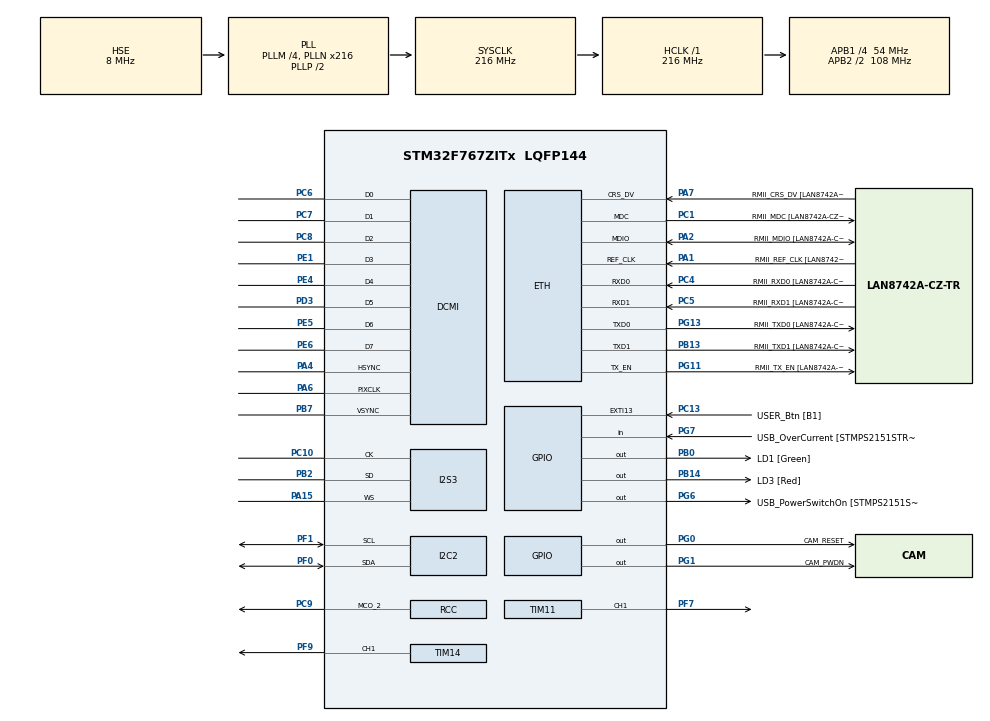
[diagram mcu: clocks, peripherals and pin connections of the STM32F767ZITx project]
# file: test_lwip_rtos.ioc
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CORTEX_M7.AccessPermission-Cortex_Memory_Protection_Unit_Region0_Settings=MPU_REGION_FULL_ACCESS
CORTEX_M7.AccessPermission-Cortex_Memory_Protection_Unit_Region1_Settings=MPU_REGION_FULL_ACCESS
CORTEX_M7.BaseAddress-Cortex_Memory_Protection_Unit_Region0_Settings=0x2007C000
CORTEX_M7.BaseAddress-Cortex_Memory_Protection_Unit_Region1_Settings=0x2007C000
CORTEX_M7.CPU_DCache=Enabled
CORTEX_M7.CPU_ICache=Enabled
CORTEX_M7.Enable-Cortex_Memory_Protection_Unit_Region0_Settings=MPU_REGION_ENABLE
CORTEX_M7.Enable-Cortex_Memory_Protection_Unit_Region1_Settings=MPU_REGION_ENABLE
CORTEX_M7.FlashInterface=TCM_Enabled
CORTEX_M7.IsBufferable-Cortex_Memory_Protection_Unit_Region1_Settings=MPU_ACCESS_BUFFERABLE
CORTEX_M7.IsShareable-Cortex_Memory_Protection_Unit_Region0_Settings=MPU_ACCESS_SHAREABLE
CORTEX_M7.IsShareable-Cortex_Memory_Protection_Unit_Region1_Settings=MPU_ACCESS_SHAREABLE
CORTEX_M7.MPU_Control=MPU_PRIVILEGED_DEFAULT
CORTEX_M7.Size-Cortex_Memory_Protection_Unit_Region0_Settings=MPU_REGION_SIZE_16KB
CORTEX_M7.Size-Cortex_Memory_Protection_Unit_Region1_Settings=MPU_REGION_SIZE_256B
CORTEX_M7.SubRegionDisable-Cortex_Memory_Protection_Unit_Region0_Settings=0x00
CORTEX_M7.SubRegionDisable-Cortex_Memory_Protection_Unit_Region1_Settings=0x00
CORTEX_M7.TypeExtField-Cortex_Memory_Protection_Unit_Region0_Settings=MPU_TEX_LEVEL1
DCMI.PCKPolarity=DCMI_PCKPOLARITY_RISING
DCMI.VSPolarity=DCMI_VSPOLARITY_HIGH
Dma.DCMI.2.Direction=DMA_PERIPH_TO_MEMORY
Dma.DCMI.2.FIFOMode=DMA_FIFOMODE_ENABLE
Dma.DCMI.2.FIFOThreshold=DMA_FIFO_THRESHOLD_FULL
Dma.DCMI.2.Instance=DMA2_Stream7
Dma.DCMI.2.MemBurst=DMA_MBURST_INC4
Dma.DCMI.2.MemDataAlignment=DMA_MDATAALIGN_WORD
Dma.DCMI.2.MemInc=DMA_MINC_ENABLE
Dma.DCMI.2.Mode=DMA_CIRCULAR
Dma.DCMI.2.PeriphBurst=DMA_PBURST_INC4
Dma.DCMI.2.PeriphDataAlignment=DMA_PDATAALIGN_WORD
Dma.DCMI.2.PeriphInc=DMA_PINC_DISABLE
Dma.DCMI.2.Priority=DMA_PRIORITY_VERY_HIGH
Dma.JPEG_IN.0.Direction=DMA_MEMORY_TO_PERIPH
Dma.JPEG_IN.0.FIFOMode=DMA_FIFOMODE_ENABLE
Dma.JPEG_IN.0.FIFOThreshold=DMA_FIFO_THRESHOLD_FULL
Dma.JPEG_IN.0.Instance=DMA2_Stream3
Dma.JPEG_IN.0.MemBurst=DMA_MBURST_INC4
Dma.JPEG_IN.0.MemDataAlignment=DMA_MDATAALIGN_WORD
Dma.JPEG_IN.0.MemInc=DMA_MINC_ENABLE
Dma.JPEG_IN.0.Mode=DMA_NORMAL
Dma.JPEG_IN.0.PeriphBurst=DMA_PBURST_INC4
Dma.JPEG_IN.0.PeriphDataAlignment=DMA_PDATAALIGN_WORD
Dma.JPEG_IN.0.PeriphInc=DMA_PINC_DISABLE
Dma.JPEG_IN.0.Priority=DMA_PRIORITY_MEDIUM
Dma.JPEG_OUT.1.Direction=DMA_PERIPH_TO_MEMORY
Dma.JPEG_OUT.1.FIFOMode=DMA_FIFOMODE_ENABLE
Dma.JPEG_OUT.1.FIFOThreshold=DMA_FIFO_THRESHOLD_FULL
Dma.JPEG_OUT.1.Instance=DMA2_Stream4
Dma.JPEG_OUT.1.MemBurst=DMA_MBURST_INC4
Dma.JPEG_OUT.1.MemDataAlignment=DMA_MDATAALIGN_WORD
Dma.JPEG_OUT.1.MemInc=DMA_MINC_ENABLE
Dma.JPEG_OUT.1.Mode=DMA_NORMAL
Dma.JPEG_OUT.1.PeriphBurst=DMA_PBURST_INC4
Dma.JPEG_OUT.1.PeriphDataAlignment=DMA_PDATAALIGN_WORD
Dma.JPEG_OUT.1.PeriphInc=DMA_PINC_DISABLE
Dma.JPEG_OUT.1.Priority=DMA_PRIORITY_LOW
Dma.Request0=JPEG_IN
Dma.Request1=JPEG_OUT
Dma.Request2=DCMI
ETH.MediaInterface=ETH_MEDIA_INTERFACE_RMII
ETH.PHY_ISFR_INT4=0x0010
ETH.PHY_Name=LAN8742A_PHY_ADDRESS
ETH.PHY_Value=0
ETH.PhyAddress=0
FREERTOS.BinarySemaphores01=RTP_SendSemaphore,Dynamic,NULL;EncJpegLine_SEM,Dynamic,NULL
FREERTOS.Tasks01=defaultTask,0,128,StartDefaultTask,Default,NULL,Dynamic,NULL,NULL
FREERTOS.configCHECK_FOR_STACK_OVERFLOW=0
FREERTOS.configTOTAL_HEAP_SIZE=262144
FREERTOS.configUSE_COUNTING_SEMAPHORES=1
FREERTOS.configUSE_RECURSIVE_MUTEXES=1
FREERTOS.configUSE_STATS_FORMATTING_FUNCTIONS=1
FREERTOS.configUSE_TRACE_FACILITY=1
I2C2.Timing=0x20404768
I2S3.AudioFreq=I2S_AUDIOFREQ_22K
I2S3.ErrorAudioFreq=0.26 %
I2S3.FullDuplexMode=I2S_FULLDUPLEXMODE_DISABLE
I2S3.Instance=SPI$Index
I2S3.RealAudioFreq=22.058 KHz
I2S3.VirtualMode=I2S_MODE_MASTER
JPEG.JPEG_RGB_FORMAT=JPEG_RGB565
JPEG.USE_JPEG_DECODER=0
LWIP.API_LIB_DEBUG=LWIP_DBG_OFF
LWIP.API_MSG_DEBUG=LWIP_DBG_OFF
LWIP.CMSIS_VERSION-Enabled=1
LWIP.DEFAULT_ACCEPTMBOX_SIZE=12
LWIP.DEFAULT_TCP_RECVMBOX_SIZE=12
LWIP.DEFAULT_UDP_RECVMBOX_SIZE=12
LWIP.DHCP_DEBUG=LWIP_DBG_OFF
LWIP.ETHARP_DEBUG=LWIP_DBG_OFF
LWIP.GATEWAY_ADDRESS=192.168.088.099
LWIP.HTTPD_DEBUG=LWIP_DBG_OFF
LWIP.ICMP_DEBUG=LWIP_DBG_OFF
LWIP.INET_DEBUG=LWIP_DBG_OFF
LWIP.IP_ADDRESS=192.168.088.099
LWIP.IP_DEBUG=LWIP_DBG_OFF
LWIP.LWIP_DBG_MIN_LEVEL=LWIP_DBG_LEVEL_ALL
LWIP.LWIP_DBG_TYPES_ON=LWIP_DBG_OFF
LWIP.LWIP_DHCP=0
LWIP.LWIP_HTTPD=1
LWIP.LWIP_HTTPD_DYNAMIC_HEADERS=1
LWIP.LWIP_TCPIP_CORE_LOCKING=1
LWIP.LWIP_TCPIP_CORE_LOCKING_INPUT=0
LWIP.MEMP_NUM_PBUF=50
LWIP.MEMP_NUM_TCP_PCB=15
LWIP.MEMP_NUM_TCP_SEG=40
LWIP.MEMP_NUM_UDP_PCB=6
LWIP.NETIF_DEBUG=LWIP_DBG_OFF
LWIP.NETMASK_ADDRESS=255.255.255.000
LWIP.PBUF_POOL_BUFSIZE=1524
LWIP.SOCKETS_DEBUG=LWIP_DBG_OFF
LWIP.SO_REUSE=1
LWIP.SYS_DEBUG=LWIP_DBG_OFF
LWIP.TCPIP_MBOX_SIZE=12
LWIP.TCP_DEBUG=LWIP_DBG_OFF
LWIP.TCP_MSS=1426
LWIP.TCP_SND_BUF=7130
LWIP.TCP_SND_QUEUELEN=30
LWIP.UDP_DEBUG=LWIP_DBG_OFF
LWIP.Version=v2.1.2_Cube
Mcu.Family=STM32F7
Mcu.Name=STM32F767ZITx
Mcu.Package=LQFP144
NVIC.DCMI_IRQn=true\:11\:0\:true\:false\:true\:true\:true\:true
NVIC.DMA2_Stream3_IRQn=true\:7\:0\:true\:false\:true\:false\:false\:true
NVIC.DMA2_Stream4_IRQn=true\:7\:0\:true\:false\:true\:false\:false\:true
NVIC.DMA2_Stream7_IRQn=true\:12\:0\:true\:false\:true\:false\:false\:true
NVIC.ETH_IRQn=true\:8\:0\:true\:false\:true\:false\:false\:true
NVIC.JPEG_IRQn=true\:6\:0\:true\:false\:true\:true\:true\:true
NVIC.PriorityGroup=NVIC_PRIORITYGROUP_4
NVIC.TIM6_DAC_IRQn=true\:0\:0\:false\:false\:true\:false\:false\:true
NVIC.TimeBase=TIM6_DAC_IRQn
NVIC.TimeBaseIP=TIM6
PA1.GPIO_Label=RMII_REF_CLK [LAN8742A-CZ-TR_REFCLK0]
PA1.Mode=RMII
PA1.Signal=ETH_REF_CLK
PA10.GPIO_Label=USB_ID
PA10.Signal=USB_OTG_FS_ID
PA11.GPIO_Label=USB_DM
PA11.Signal=USB_OTG_FS_DM
PA12.GPIO_Label=USB_DP
PA12.Signal=USB_OTG_FS_DP
PA13.GPIO_Label=TMS
PA13.Mode=Trace_Asynchronous_SW
PA13.Signal=SYS_JTMS-SWDIO
PA14.GPIO_Label=TCK
PA14.Mode=Trace_Asynchronous_SW
PA14.Signal=SYS_JTCK-SWCLK
PA15.Mode=Half_Duplex_Master
PA15.Signal=I2S3_WS
PA2.GPIO_Label=RMII_MDIO [LAN8742A-CZ-TR_MDIO]
PA2.Mode=RMII
PA2.Signal=ETH_MDIO
PA4.Mode=Slave_8_bits_External_Synchro
PA4.Signal=DCMI_HSYNC
PA6.Mode=Slave_8_bits_External_Synchro
PA6.Signal=DCMI_PIXCLK
PA7.GPIO_Label=RMII_CRS_DV [LAN8742A-CZ-TR_CRS_DV]
PA7.Mode=RMII
PA7.Signal=ETH_CRS_DV
PA8.GPIO_Label=USB_SOF [TP1]
PA8.Signal=USB_OTG_FS_SOF
PA9.GPIO_Label=USB_VBUS
PA9.Signal=USB_OTG_FS_VBUS
PB0.GPIO_Label=LD1 [Green]
PB0.Signal=GPIO_Output
PB13.GPIO_Label=RMII_TXD1 [LAN8742A-CZ-TR_TXD1]
PB13.Mode=RMII
PB13.Signal=ETH_TXD1
PB14.GPIO_Label=LD3 [Red]
PB14.Signal=GPIO_Output
PB2.Mode=Half_Duplex_Master
PB2.Signal=I2S3_SD
PB3.GPIO_Label=SWO
PB3.Mode=Trace_Asynchronous_SW
PB3.Signal=SYS_JTDO-SWO
PB7.Mode=Slave_8_bits_External_Synchro
PB7.Signal=DCMI_VSYNC
PC1.GPIO_Label=RMII_MDC [LAN8742A-CZ-TR_MDC]
PC1.Mode=RMII
PC1.Signal=ETH_MDC
PC10.Mode=Half_Duplex_Master
PC10.Signal=I2S3_CK
PC13.GPIO_Label=USER_Btn [B1]
PC13.Signal=GPXTI13
PC14/OSC32_IN.Mode=LSE-External-Oscillator
PC14/OSC32_IN.Signal=RCC_OSC32_IN
PC15/OSC32_OUT.Mode=LSE-External-Oscillator
PC15/OSC32_OUT.Signal=RCC_OSC32_OUT
PC4.GPIO_Label=RMII_RXD0 [LAN8742A-CZ-TR_RXD0]
PC4.Mode=RMII
PC4.Signal=ETH_RXD0
PC5.GPIO_Label=RMII_RXD1 [LAN8742A-CZ-TR_RXD1]
PC5.Mode=RMII
PC5.Signal=ETH_RXD1
PC6.Mode=Slave_8_bits_External_Synchro
PC6.Signal=DCMI_D0
PC7.Mode=Slave_8_bits_External_Synchro
PC7.Signal=DCMI_D1
PC8.Mode=Slave_8_bits_External_Synchro
PC8.Signal=DCMI_D2
PC9.Mode=Clock-out-2
PC9.Signal=RCC_MCO_2
PD3.Mode=Slave_8_bits_External_Synchro
PD3.Signal=DCMI_D5
PD8.GPIO_Label=STLK_RX [STM32F103CBT6_PA3]
PD8.Signal=USART3_TX
PD9.GPIO_Label=STLK_TX [STM32F103CBT6_PA2]
PD9.Signal=USART3_RX
PE1.Mode=Slave_8_bits_External_Synchro
PE1.Signal=DCMI_D3
PE4.Mode=Slave_8_bits_External_Synchro
PE4.Signal=DCMI_D4
PE5.Mode=Slave_8_bits_External_Synchro
PE5.Signal=DCMI_D6
PE6.Mode=Slave_8_bits_External_Synchro
PE6.Signal=DCMI_D7
PF0.Mode=I2C
PF0.Signal=I2C2_SDA
PF1.Mode=I2C
PF1.Signal=I2C2_SCL
PF7.Signal=S_TIM11_CH1
PF9.Signal=S_TIM14_CH1
PG0.GPIO_Label=CAM_RESET
PG0.Signal=GPIO_Output
PG1.GPIO_Label=CAM_PWDN
PG1.Signal=GPIO_Output
PG11.GPIO_Label=RMII_TX_EN [LAN8742A-CZ-TR_TXEN]
PG11.Mode=RMII
PG11.Signal=ETH_TX_EN
PG13.GPIO_Label=RMII_TXD0 [LAN8742A-CZ-TR_TXD0]
PG13.Mode=RMII
PG13.Signal=ETH_TXD0
PG6.GPIO_Label=USB_PowerSwitchOn [STMPS2151STR_EN]
PG6.Signal=GPIO_Output
PG7.GPIO_Label=USB_OverCurrent [STMPS2151STR_FAULT]
PG7.Signal=GPIO_Input
PH0/OSC_IN.GPIO_Label=MCO [STM32F103CBT6_PA8]
PH0/OSC_IN.Mode=HSE-External-Clock-Source
PH0/OSC_IN.Signal=RCC_OSC_IN
PH1/OSC_OUT.Mode=HSE-External-Clock-Source
PH1/OSC_OUT.Signal=RCC_OSC_OUT
ProjectManager.HeapSize=0x200
ProjectManager.StackSize=0x400
ProjectManager.TargetToolchain=STM32CubeIDE
RCC.48MHZClocksFreq_Value=24000000
RCC.AHBFreq_Value=216000000
RCC.APB1CLKDivider=RCC_HCLK_DIV4
RCC.APB1Freq_Value=54000000
RCC.APB1TimFreq_Value=108000000
RCC.APB2CLKDivider=RCC_HCLK_DIV2
RCC.APB2Freq_Value=108000000
RCC.APB2TimFreq_Value=216000000
RCC.CortexFreq_Value=216000000
RCC.HCLKFreq_Value=216000000
RCC.HSE_VALUE=8000000
RCC.HSI_VALUE=16000000
RCC.PLLI2SN=144
RCC.PLLI2SR=6
RCC.PLLM=4
RCC.PLLMUL=RCC_PLL_MUL9
RCC.PLLN=216
RCC.PLLQ=4
RCC.PLLSourceVirtual=RCC_PLLSOURCE_HSE
RCC.PRESCALERUSB=RCC_USBCLKSOURCE_PLL_DIV1_5
RCC.RCC_MCO2Source=RCC_MCO2SOURCE_PLLI2SCLK
RCC.RCC_MCODiv2=RCC_MCODIV_4
RCC.SYSCLKFreq_VALUE=216000000
RCC.SYSCLKSource=RCC_SYSCLKSOURCE_PLLCLK
RCC.SYSCLKSourceVirtual=RCC_SYSCLKSOURCE_PLLCLK
RCC.USBFreq_Value=108000000
RCC.VCOOutputFreq_Value=432000000
SH.S_TIM11_CH1.0=TIM11_CH1,PWM Generation1 CH1
SH.S_TIM14_CH1.0=TIM14_CH1,PWM Generation1 CH1
TIM11.Channel=TIM_CHANNEL_1
TIM11.Period=2000-1
TIM11.Prescaler=1080-1
TIM14.Channel=TIM_CHANNEL_1
TIM14.Period=2000-1
TIM14.Prescaler=540-1
VP_FREERTOS_VS_CMSIS_V1.Mode=CMSIS_V1
VP_JPEG_VS_JPEG.Mode=JPEG_Activate
VP_LWIP_VS_Enabled.Mode=Enabled
VP_SYS_VS_tim6.Mode=TIM6
VP_TIM11_VS_ClockSourceINT.Mode=Enable_Timer
VP_TIM14_VS_ClockSourceINT.Mode=Enable_Timer
board=NUCLEO-F767ZI

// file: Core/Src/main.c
/* USER CODE BEGIN Header */
/**
  ******************************************************************************
  * @file           : main.c
  * @brief          : Main program body
  ******************************************************************************
  * @attention
  *
  * <h2><center>&copy; Copyright (c) 2020 STMicroelectronics.
  * All rights reserved.</center></h2>
  *
  * This software component is licensed by ST under BSD 3-Clause license,
  * the "License"; You may not use this file except in compliance with the
  * License. You may obtain a copy of the License at:
  *                        opensource.org/licenses/BSD-3-Clause
  *
  ******************************************************************************
  */
/* USER CODE END Header */
#include "main.h"
#include "cmsis_os.h"
#include "dcmi.h"
#include "dma.h"
#include "i2c.h"
#include "i2s.h"
#include "jpeg.h"
#include "lwip.h"
#include "tim.h"
#include "gpio.h"

void SystemClock_Config(void);
static void MPU_Config(void);
void MX_FREERTOS_Init(void);

/* USER CODE BEGIN 0 */
int _write(int file, char *ptr, int len)
{
  /* Implement your write code here, this is used by puts and printf for example */
  int i = 0;
  for(i = 0; i < len; i++)
    ITM_SendChar(*ptr++);
  return len;
}
/* USER CODE END 0 */

int main(void)
{

  /* MPU Configuration--------------------------------------------------------*/
  MPU_Config();

  /* Enable I-Cache---------------------------------------------------------*/
  SCB_EnableICache();

  /* Enable D-Cache---------------------------------------------------------*/
  SCB_EnableDCache();

  /* MCU Configuration--------------------------------------------------------*/

  /* Reset of all peripherals, Initializes the Flash interface and the Systick. */
  HAL_Init();

  /* Configure the system clock */
  SystemClock_Config();

  /* Initialize all configured peripherals */
  MX_GPIO_Init();
  MX_DMA_Init();
  MX_JPEG_Init();
  MX_DCMI_Init();
  MX_TIM11_Init();
  MX_TIM14_Init();
  MX_I2C2_Init();
  MX_I2S3_Init();
  /* USER CODE BEGIN 2 */
  printf("test\r\n");
  /* USER CODE END 2 */

  /* Call init function for freertos objects (in freertos.c) */
  MX_FREERTOS_Init();
  /* Start scheduler */
  osKernelStart();

  /* We should never get here as control is now taken by the scheduler */
  /* Infinite loop */
  while (1)
  {

  }
}

void SystemClock_Config(void)
{
  RCC_OscInitTypeDef RCC_OscInitStruct = {0};
  RCC_ClkInitTypeDef RCC_ClkInitStruct = {0};
  RCC_PeriphCLKInitTypeDef PeriphClkInitStruct = {0};

  /** Configure LSE Drive Capability
  */
  HAL_PWR_EnableBkUpAccess();
  /** Configure the main internal regulator output voltage
  */
  __HAL_RCC_PWR_CLK_ENABLE();
  __HAL_PWR_VOLTAGESCALING_CONFIG(PWR_REGULATOR_VOLTAGE_SCALE1);
  /** Initializes the RCC Oscillators according to the specified parameters
  * in the RCC_OscInitTypeDef structure.
  */
  RCC_OscInitStruct.OscillatorType = RCC_OSCILLATORTYPE_HSE;
  RCC_OscInitStruct.HSEState = RCC_HSE_BYPASS;
  RCC_OscInitStruct.PLL.PLLState = RCC_PLL_ON;
  RCC_OscInitStruct.PLL.PLLSource = RCC_PLLSOURCE_HSE;
  RCC_OscInitStruct.PLL.PLLM = 4;
  RCC_OscInitStruct.PLL.PLLN = 216;
  RCC_OscInitStruct.PLL.PLLP = RCC_PLLP_DIV2;
  RCC_OscInitStruct.PLL.PLLQ = 4;
  if (HAL_RCC_OscConfig(&RCC_OscInitStruct) != HAL_OK)
  {
    Error_Handler();
  }
  /** Activate the Over-Drive mode
  */
  if (HAL_PWREx_EnableOverDrive() != HAL_OK)
  {
    Error_Handler();
  }
  /** Initializes the CPU, AHB and APB buses clocks
  */
  RCC_ClkInitStruct.ClockType = RCC_CLOCKTYPE_HCLK|RCC_CLOCKTYPE_SYSCLK
                              |RCC_CLOCKTYPE_PCLK1|RCC_CLOCKTYPE_PCLK2;
  RCC_ClkInitStruct.SYSCLKSource = RCC_SYSCLKSOURCE_PLLCLK;
  RCC_ClkInitStruct.AHBCLKDivider = RCC_SYSCLK_DIV1;
  RCC_ClkInitStruct.APB1CLKDivider = RCC_HCLK_DIV4;
  RCC_ClkInitStruct.APB2CLKDivider = RCC_HCLK_DIV2;

  if (HAL_RCC_ClockConfig(&RCC_ClkInitStruct, FLASH_LATENCY_7) != HAL_OK)
  {
    Error_Handler();
  }
  PeriphClkInitStruct.PeriphClockSelection = RCC_PERIPHCLK_PLLI2S|RCC_PERIPHCLK_I2C2
                              |RCC_PERIPHCLK_I2S;
  PeriphClkInitStruct.PLLI2S.PLLI2SN = 144;
  PeriphClkInitStruct.PLLI2S.PLLI2SP = RCC_PLLP_DIV2;
  PeriphClkInitStruct.PLLI2S.PLLI2SR = 6;
  PeriphClkInitStruct.PLLI2S.PLLI2SQ = 2;
  PeriphClkInitStruct.PLLI2SDivQ = 1;
  PeriphClkInitStruct.I2sClockSelection = RCC_I2SCLKSOURCE_PLLI2S;
  PeriphClkInitStruct.I2c2ClockSelection = RCC_I2C2CLKSOURCE_PCLK1;
  if (HAL_RCCEx_PeriphCLKConfig(&PeriphClkInitStruct) != HAL_OK)
  {
    Error_Handler();
  }
  HAL_RCC_MCOConfig(RCC_MCO2, RCC_MCO2SOURCE_PLLI2SCLK, RCC_MCODIV_4);
}

/* USER CODE BEGIN 4 */

/**
  * @brief  Get the images sizes from BMP header.
  * @param  pInfo : pointer to the Info structure
  * @retval None
  */
void RGB_GetInfo(JPEG_ConfTypeDef *pInfo)
{
  /* Read Images Sizes */
  pInfo->ImageWidth         = FRAME_SIZE_WIDTH;
  pInfo->ImageHeight        = FRAME_SIZE_HEIGHT;

  /* Jpeg Encoding Setting to be set by users */
  pInfo->ChromaSubsampling  = JPEG_CHROMA_SAMPLING;
  pInfo->ColorSpace         = JPEG_COLOR_SPACE;
  pInfo->ImageQuality       = JPEG_IMAGE_QUALITY;

  /*Check if Image Sizes meets the requirements */
  if (((pInfo->ImageWidth % 8) != 0 ) || ((pInfo->ImageHeight % 8) != 0 ) || \
      (((pInfo->ImageWidth % 16) != 0 ) && (pInfo->ColorSpace == JPEG_YCBCR_COLORSPACE) && (pInfo->ChromaSubsampling != JPEG_444_SUBSAMPLING)) || \
      (((pInfo->ImageHeight % 16) != 0 ) && (pInfo->ColorSpace == JPEG_YCBCR_COLORSPACE) && (pInfo->ChromaSubsampling == JPEG_420_SUBSAMPLING)))
  {
    Error_Handler();
  }

}

/* USER CODE END 4 */

/* MPU Configuration */

void MPU_Config(void)
{
  MPU_Region_InitTypeDef MPU_InitStruct = {0};

  /* Disables the MPU */
  HAL_MPU_Disable();
  /** Initializes and configures the Region and the memory to be protected
  */
  MPU_InitStruct.Enable = MPU_REGION_ENABLE;
  MPU_InitStruct.Number = MPU_REGION_NUMBER0;
  MPU_InitStruct.BaseAddress = 0x2007C000;
  MPU_InitStruct.Size = MPU_REGION_SIZE_16KB;
  MPU_InitStruct.SubRegionDisable = 0x00;
  MPU_InitStruct.TypeExtField = MPU_TEX_LEVEL1;
  MPU_InitStruct.AccessPermission = MPU_REGION_FULL_ACCESS;
  MPU_InitStruct.DisableExec = MPU_INSTRUCTION_ACCESS_ENABLE;
  MPU_InitStruct.IsShareable = MPU_ACCESS_SHAREABLE;
  MPU_InitStruct.IsCacheable = MPU_ACCESS_NOT_CACHEABLE;
  MPU_InitStruct.IsBufferable = MPU_ACCESS_NOT_BUFFERABLE;

  HAL_MPU_ConfigRegion(&MPU_InitStruct);
  /** Initializes and configures the Region and the memory to be protected
  */
  MPU_InitStruct.Enable = MPU_REGION_ENABLE;
  MPU_InitStruct.Number = MPU_REGION_NUMBER1;
  MPU_InitStruct.BaseAddress = 0x2007C000;
  MPU_InitStruct.Size = MPU_REGION_SIZE_256B;
  MPU_InitStruct.SubRegionDisable = 0x00;
  MPU_InitStruct.TypeExtField = MPU_TEX_LEVEL0;
  MPU_InitStruct.AccessPermission = MPU_REGION_FULL_ACCESS;
  MPU_InitStruct.DisableExec = MPU_INSTRUCTION_ACCESS_ENABLE;
  MPU_InitStruct.IsShareable = MPU_ACCESS_SHAREABLE;
  MPU_InitStruct.IsCacheable = MPU_ACCESS_NOT_CACHEABLE;
  MPU_InitStruct.IsBufferable = MPU_ACCESS_BUFFERABLE;

  HAL_MPU_ConfigRegion(&MPU_InitStruct);
  /* Enables the MPU */
  HAL_MPU_Enable(MPU_PRIVILEGED_DEFAULT);

}
void HAL_TIM_PeriodElapsedCallback(TIM_HandleTypeDef *htim)
{
  if (htim->Instance == TIM6) {
    HAL_IncTick();
  }
}

void Error_Handler(void)
{
}

/************************ (C) COPYRIGHT STMicroelectronics *****END OF FILE****/

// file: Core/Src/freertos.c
/* USER CODE BEGIN Header */
/**
  ******************************************************************************
  * File Name          : freertos.c
  * Description        : Code for freertos applications
  ******************************************************************************
  * @attention
  *
  * <h2><center>&copy; Copyright (c) 2020 STMicroelectronics.
  * All rights reserved.</center></h2>
  *
  * This software component is licensed by ST under Ultimate Liberty license
  * SLA0044, the "License"; You may not use this file except in compliance with
  * the License. You may obtain a copy of the License at:
  *                             www.st.com/SLA0044
  *
  ******************************************************************************
  */
/* USER CODE END Header */

#include "FreeRTOS.h"
#include "task.h"
#include "main.h"
#include "cmsis_os.h"

/* USER CODE BEGIN Includes */
#include "dcmi.h"
/* USER CODE END Includes */

/* USER CODE BEGIN Variables */
extern uint8_t buffCAM[MAX_INPUT_LINES * FRAME_SIZE_WIDTH * 2];
/* USER CODE END Variables */
osThreadId defaultTaskHandle;
osSemaphoreId RTP_SendSemaphoreHandle;
osSemaphoreId EncJpegLine_SEMHandle;

void StartDefaultTask(void const * argument);

extern void MX_LWIP_Init(void);
void MX_FREERTOS_Init(void); /* (MISRA C 2004 rule 8.1) */

/* GetIdleTaskMemory prototype (linked to static allocation support) */
void vApplicationGetIdleTaskMemory( StaticTask_t **ppxIdleTaskTCBBuffer, StackType_t **ppxIdleTaskStackBuffer, uint32_t *pulIdleTaskStackSize );

/* USER CODE BEGIN GET_IDLE_TASK_MEMORY */
static StaticTask_t xIdleTaskTCBBuffer;
static StackType_t xIdleStack[configMINIMAL_STACK_SIZE];

void vApplicationGetIdleTaskMemory( StaticTask_t **ppxIdleTaskTCBBuffer, StackType_t **ppxIdleTaskStackBuffer, uint32_t *pulIdleTaskStackSize )
{
  *ppxIdleTaskTCBBuffer = &xIdleTaskTCBBuffer;
  *ppxIdleTaskStackBuffer = &xIdleStack[0];
  *pulIdleTaskStackSize = configMINIMAL_STACK_SIZE;
  /* place for user code */
}
/* USER CODE END GET_IDLE_TASK_MEMORY */

void MX_FREERTOS_Init(void) {

  /* Create the semaphores(s) */
  /* definition and creation of RTP_SendSemaphore */
  osSemaphoreDef(RTP_SendSemaphore);
  RTP_SendSemaphoreHandle = osSemaphoreCreate(osSemaphore(RTP_SendSemaphore), 1);

  /* definition and creation of EncJpegLine_SEM */
  osSemaphoreDef(EncJpegLine_SEM);
  EncJpegLine_SEMHandle = osSemaphoreCreate(osSemaphore(EncJpegLine_SEM), 1);

  /* Create the thread(s) */
  /* definition and creation of defaultTask */
  osThreadDef(defaultTask, StartDefaultTask, osPriorityNormal, 0, 128);
  defaultTaskHandle = osThreadCreate(osThread(defaultTask), NULL);

}

void StartDefaultTask(void const * argument)
{
  /* USER CODE BEGIN StartDefaultTask */
  /* init code for LWIP */
  MX_LWIP_Init();
  /* Infinite loop */
  for(;;)
  {
    osDelay(500);
  }
  /* USER CODE END StartDefaultTask */
}

/************************ (C) COPYRIGHT STMicroelectronics *****END OF FILE****/
